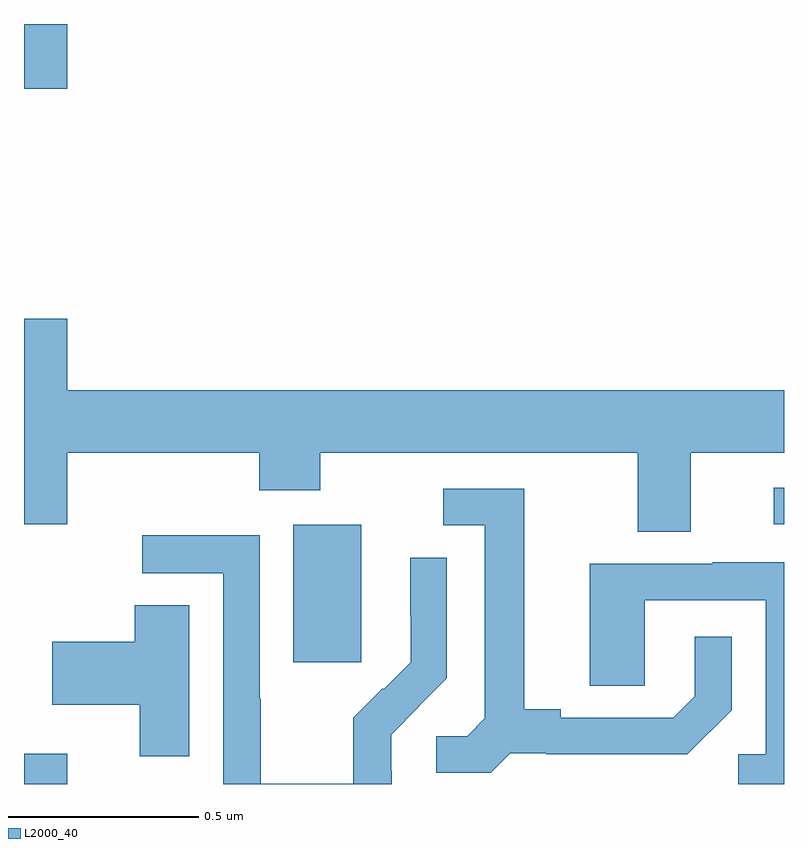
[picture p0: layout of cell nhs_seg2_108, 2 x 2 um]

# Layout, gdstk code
import gdstk
lib = gdstk.Library(unit=1e-6, precision=1e-09)
def R(c, l, rs):  # rectangles x0, y0, x1, y1
    for r in rs: c.add(gdstk.rectangle(r[:2], r[2:], *l))
def P(c, l, *ps):  # polygons
    for p in ps: c.add(gdstk.Polygon(p, *l))
L2000_40 = (2000, 40)

nhs_seg2_108 = lib.new_cell('nhs_seg2_108')
R(nhs_seg2_108, L2000_40, [(112,610.8,112.114,610.879), (112.709,611.121,112.888,611.482), (113.973,611.484,114,611.58), (112,612.63,112.114,612.8)])
P(nhs_seg2_108, L2000_40, [(113.755,611.672),(114,611.672),(114,611.836),(112.114,611.836),(112.114,612.025),(112,612.025),(112,611.484),(112.114,611.484),(112.114,611.672),(112.619,611.672),(112.619,611.573),(112.779,611.573),(112.779,611.672),(113.615,611.672),(113.615,611.464),(113.755,611.464)],
  [(113.28,610.881),(113.374,610.881),(113.374,610.878),(113.746,610.878),(113.862,610.994),(113.862,611.188),(113.765,611.188),(113.765,611.031),(113.708,610.974),(113.413,610.974),(113.413,610.997),(113.317,610.997),(113.317,611.577),(113.103,611.577),(113.103,611.481),(113.213,611.481),(113.213,610.973),(113.166,610.926),(113.085,610.926),(113.085,610.829),(113.228,610.829)],
  [(112.968,610.833),(112.966,610.833),(112.966,610.93),(113.04,611.004),(113.039,611.005),(113.112,611.078),(113.112,611.396),(113.016,611.396),(113.016,611.242),(113.018,611.242),(113.018,611.12),(112.947,611.049),(112.944,611.052),(112.867,610.975),(112.867,610.801),(112.623,610.801),(112.623,611.024),(112.62,611.024),(112.62,611.454),(112.311,611.454),(112.311,611.355),(112.524,611.355),(112.524,610.8),(112.968,610.8)],
  [(114,611.383),(113.813,611.383),(113.813,611.379),(113.489,611.379),(113.489,611.059),(113.634,611.059),(113.634,611.283),(113.952,611.283),(113.952,610.878),(113.88,610.878),(113.88,610.8),(114,610.8)],
  [(112.435,611.27),(112.292,611.27),(112.292,611.175),(112.074,611.175),(112.074,611.009),(112.304,611.009),(112.304,610.873),(112.435,610.873)])

lib.write_gds('nhs_seg2_108.gds')
